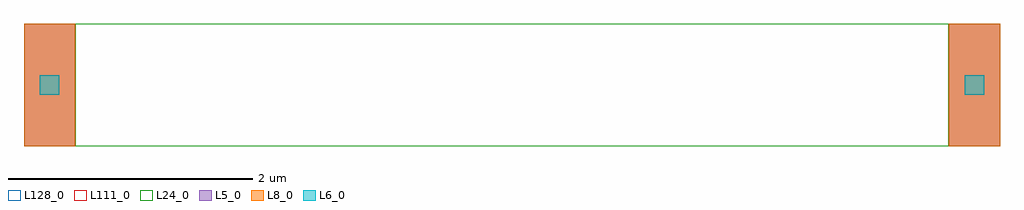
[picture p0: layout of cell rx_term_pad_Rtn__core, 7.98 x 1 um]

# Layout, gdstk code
import gdstk
lib = gdstk.Library(unit=1e-6, precision=1e-09)
def R(c, l, rs):  # rectangles x0, y0, x1, y1
    for r in rs: c.add(gdstk.rectangle(r[:2], r[2:], *l))
L5_0 = (5, 0)
L6_0 = (6, 0)
L8_0 = (8, 0)
L24_0 = (24, 0)
L111_0 = (111, 0)
L128_0 = (128, 0)

rx_term_pad_rtn__core = lib.new_cell('rx_term_pad_Rtn__core')
R(rx_term_pad_rtn__core, L5_0, [(0,0,0.42,1), (7.563,0,7.983,1)])
R(rx_term_pad_rtn__core, L6_0, [(0.13,0.42,0.29,0.58), (7.693,0.42,7.853,0.58)])
R(rx_term_pad_rtn__core, L8_0, [(0,0,0.42,1), (7.563,0,7.983,1)])
R(rx_term_pad_rtn__core, L24_0, [(0.42,0,7.563,1)])
R(rx_term_pad_rtn__core, L111_0, [(0.42,0,7.563,1)])
R(rx_term_pad_rtn__core, L128_0, [(0.42,0,7.563,1)])

lib.write_gds('rx_term_pad_Rtn__core.gds')
